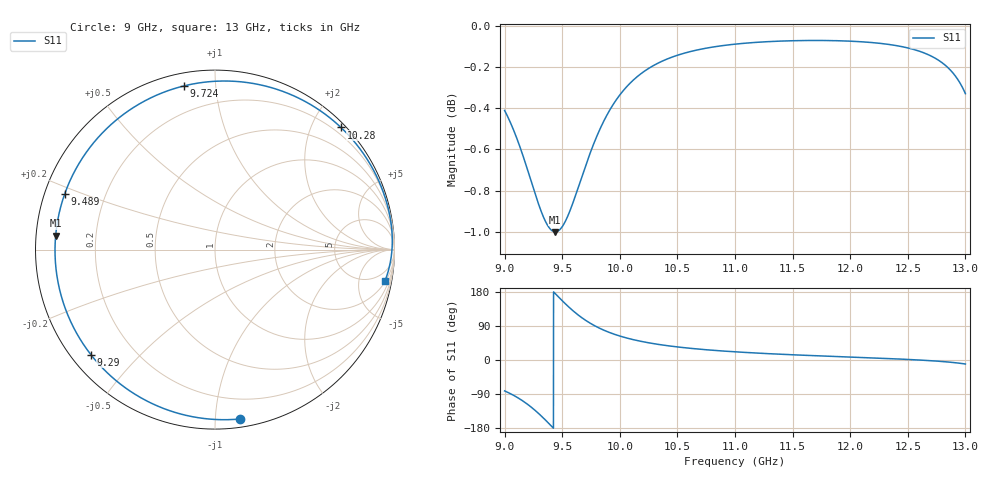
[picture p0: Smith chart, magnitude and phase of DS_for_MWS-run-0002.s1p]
! TOUCHSTONE file generated by CST DESIGN STUDIO
! Date and time: Tue Feb  4 13:34:32 2025
! Project name: C:\Work\MatlabApps\UnitCellOptimizationMatlab\CST\unitcell.cst
! Tree item: Tasks\Sweep1\SPara1\S-Parameters
! Header version: 2024
! Port assignment regex: !\s*Touchstone port\s*([0-9]+)\s*=\s*(CST MWS port|CST DES external port|CST DES block port)\s*(.+)\s* \(\"(.*)\"\)(\s*mode\s*([0-9]+))?.*
! Touchstone port assignment:
! Touchstone port 1 = CST DES external port 1 ("")
# GHz S MA R 50
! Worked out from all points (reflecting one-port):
!   4001 points, 9 GHz to 13 GHz, reference 50 ohm
!   lowest |S11| = -1.0 dB at 9.44 GHz (marker M1), VSWR 17.38, Z = 2.88 + j2.16 ohm
!   phase of S11 starts at -82 deg and turns -289 deg over the sweep
!   S11 on the Smith chart (normalised r, x): 9 GHz: 0.06, -1.16; 9.29 GHz: 0.06, -0.37; 9.489 GHz: 0.06, +0.18; 9.724 GHz: 0.06, +0.83; 10.28 GHz: 0.08, +2.47; 13 GHz: 2, -10
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9  0.9539 -81.6
9.088  0.9419 -94.9
9.161  0.9297 -108.6
9.227  0.9175 -123.4
9.29  0.906 -139.7
9.332  0.8994 -151.7
9.369  0.8949 -162.8
9.405  0.8921 -174.0
9.44  0.8912 175.0
9.489  0.8929 159.8
9.5  0.8938 156.5
9.556  0.9002 140.2
9.61  0.9086 125.8
9.665  0.9182 112.8
9.724  0.9283 100.6
9.786  0.9381 89.7
9.858  0.9478 79.1
10  0.9622 63.3
10.127  0.9708 53.0
10.275  0.9775 44.1
10.5  0.9838 34.5
10.723  0.9874 27.7
11  0.9899 21.6
11.5  0.9918 13.8
12  0.9916 7.7
12.5  0.9878 1.5
12.789  0.9801 -3.7
13  0.9629 -10.6
